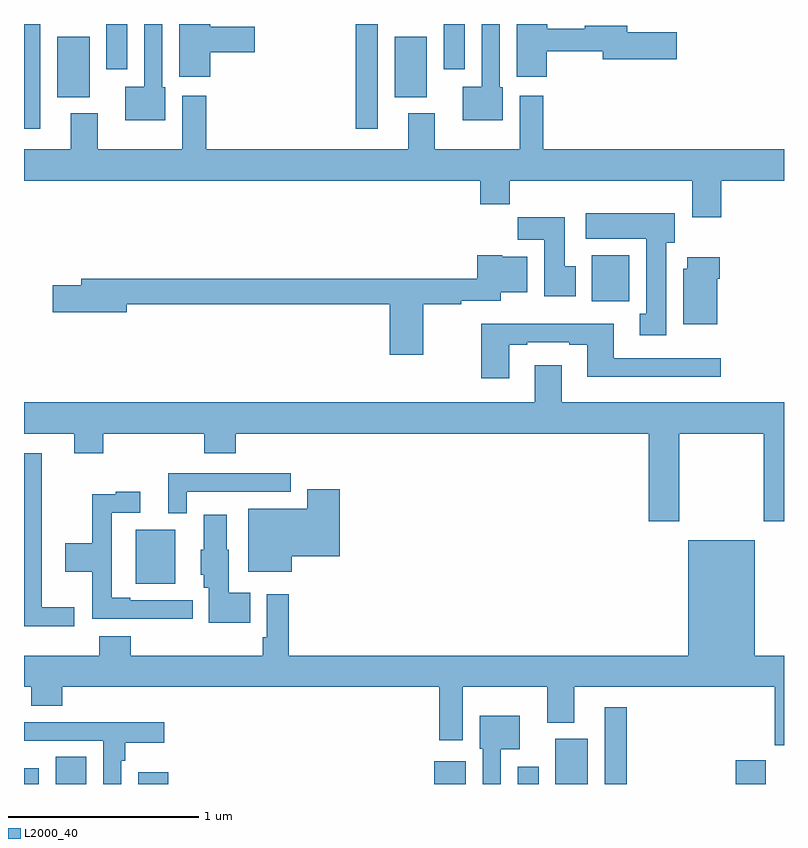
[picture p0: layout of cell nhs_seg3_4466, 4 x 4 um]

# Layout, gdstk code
import gdstk
lib = gdstk.Library(unit=1e-6, precision=1e-09)
def R(c, l, rs):  # rectangles x0, y0, x1, y1
    for r in rs: c.add(gdstk.rectangle(r[:2], r[2:], *l))
def P(c, l, *ps):  # polygons
    for p in ps: c.add(gdstk.Polygon(p, *l))
L2000_40 = (2000, 40)

nhs_seg3_4466 = lib.new_cell('nhs_seg3_4466')
R(nhs_seg3_4466, L2000_40, [(349,704.4,349.078,704.482), (349.166,704.4,349.327,704.543), (349.601,704.4,349.76,704.461), (351.158,704.4,351.325,704.521), (351.599,704.4,351.709,704.491), (351.797,704.4,351.967,704.638), (352.056,704.4,352.172,704.803), (352.745,704.4,352.905,704.524), (349.589,705.455,349.795,705.739), (351.989,706.94,352.186,707.182), (349,707.85,349.086,708.4), (350.746,707.85,350.862,708.4), (349.175,708.014,349.345,708.334), (350.951,708.014,351.121,708.334), (349.433,708.162,349.543,708.4), (351.209,708.162,351.319,708.4)])
P(nhs_seg3_4466, L2000_40, [(349.979,708.251),(350.215,708.251),(350.215,708.385),(349.979,708.385),(349.979,708.4),(349.817,708.4),(349.817,708.123),(349.979,708.123)],
  [(351.52,708.066),(351.504,708.066),(351.504,708.4),(351.408,708.4),(351.408,708.07),(351.308,708.07),(351.308,707.894),(351.52,707.894)],
  [(349.744,708.066),(349.728,708.066),(349.728,708.4),(349.632,708.4),(349.632,708.07),(349.532,708.07),(349.532,707.894),(349.744,707.894)],
  [(351.75,708.256),(352.046,708.256),(352.046,708.214),(352.435,708.214),(352.435,708.356),(352.174,708.356),(352.174,708.392),(351.95,708.392),(351.95,708.375),(351.755,708.375),(351.755,708.4),(351.593,708.4),(351.593,708.123),(351.75,708.123)],
  [(352.67,707.576),(353,707.576),(353,707.74),(351.734,707.74),(351.734,708.022),(351.608,708.022),(351.608,707.74),(351.163,707.74),(351.163,707.929),(351.023,707.929),(351.023,707.74),(349.958,707.74),(349.958,708.022),(349.832,708.022),(349.832,707.74),(349.387,707.74),(349.387,707.929),(349.247,707.929),(349.247,707.74),(349,707.74),(349,707.576),(351.401,707.576),(351.401,707.452),(351.557,707.452),(351.557,707.576),(352.517,707.576),(352.517,707.382),(352.67,707.382)],
  [(352.381,707.25),(352.426,707.25),(352.426,707.404),(351.957,707.404),(351.957,707.27),(352.274,707.27),(352.274,706.874),(352.241,706.874),(352.241,706.761),(352.381,706.761)],
  [(351.904,707.124),(351.847,707.124),(351.847,707.383),(351.598,707.383),(351.598,707.264),(351.737,707.264),(351.737,706.968),(351.904,706.968)],
  [(351.102,706.924),(351.302,706.924),(351.302,706.944),(351.508,706.944),(351.508,706.988),(351.649,706.988),(351.649,707.176),(351.516,707.176),(351.516,707.182),(351.386,707.182),(351.386,707.06),(349.301,707.06),(349.301,707.024),(349.152,707.024),(349.152,706.882),(349.54,706.882),(349.54,706.924),(350.924,706.924),(350.924,706.659),(351.102,706.659)],
  [(352.648,707.06),(352.661,707.06),(352.661,707.173),(352.49,707.173),(352.49,707.112),(352.469,707.112),(352.469,706.82),(352.648,706.82)],
  [(351.553,706.713),(351.649,706.713),(351.649,706.725),(351.869,706.725),(351.869,706.713),(351.965,706.713),(351.965,706.544),(352.666,706.544),(352.666,706.641),(352.105,706.641),(352.105,706.822),(351.406,706.822),(351.406,706.536),(351.553,706.536)],
  [(352.449,706.244),(352.894,706.244),(352.894,705.783),(353,705.783),(353,706.408),(351.829,706.408),(351.829,706.603),(351.689,706.603),(351.689,706.408),(349,706.408),(349,706.244),(349.265,706.244),(349.265,706.142),(349.418,706.142),(349.418,706.244),(349.949,706.244),(349.949,706.142),(350.114,706.142),(350.114,706.244),(352.289,706.244),(352.289,705.783),(352.449,705.783)],
  [(349.264,705.329),(349.093,705.329),(349.093,706.141),(349,706.141),(349,705.23),(349.264,705.23)],
  [(349.857,705.939),(350.404,705.939),(350.404,706.035),(349.76,706.035),(349.76,705.824),(349.857,705.824)],
  [(350.41,705.599),(350.663,705.599),(350.663,705.952),(350.492,705.952),(350.492,705.85),(350.18,705.85),(350.18,705.518),(350.41,705.518)],
  [(349.888,705.366),(349.558,705.366),(349.558,705.379),(349.461,705.379),(349.461,705.828),(349.612,705.828),(349.612,705.937),(349.484,705.937),(349.484,705.926),(349.36,705.926),(349.36,705.666),(349.218,705.666),(349.218,705.518),(349.36,705.518),(349.36,705.27),(349.645,705.27),(349.645,705.269),(349.888,705.269)],
  [(350.192,705.406),(350.077,705.406),(350.077,705.633),(350.068,705.633),(350.068,705.817),(349.946,705.817),(349.946,705.633),(349.931,705.633),(349.931,705.501),(349.946,705.501),(349.946,705.432),(349.973,705.432),(349.973,705.248),(350.192,705.248)],
  [(350.393,705.4),(350.277,705.4),(350.277,705.172),(350.257,705.172),(350.257,705.076),(349.562,705.076),(349.562,705.178),(349.397,705.178),(349.397,705.076),(349,705.076),(349,704.912),(349.037,704.912),(349.037,704.813),(349.202,704.813),(349.202,704.912),(351.185,704.912),(351.185,704.631),(351.31,704.631),(351.31,704.912),(351.755,704.912),(351.755,704.723),(351.895,704.723),(351.895,704.912),(352.952,704.912),(352.952,704.603),(353,704.603),(353,705.076),(352.846,705.076),(352.846,705.682),(352.496,705.682),(352.496,705.076),(350.393,705.076)],
  [(351.51,704.582),(351.61,704.582),(351.61,704.758),(351.398,704.758),(351.398,704.586),(351.414,704.586),(351.414,704.4),(351.51,704.4)],
  [(349.512,704.522),(349.532,704.522),(349.532,704.618),(349.738,704.618),(349.738,704.726),(349.319,704.726),(349.319,704.724),(349,704.724),(349,704.627),(349.07,704.627),(349.07,704.628),(349.416,704.628),(349.416,704.4),(349.512,704.4)])

lib.write_gds('nhs_seg3_4466.gds')
